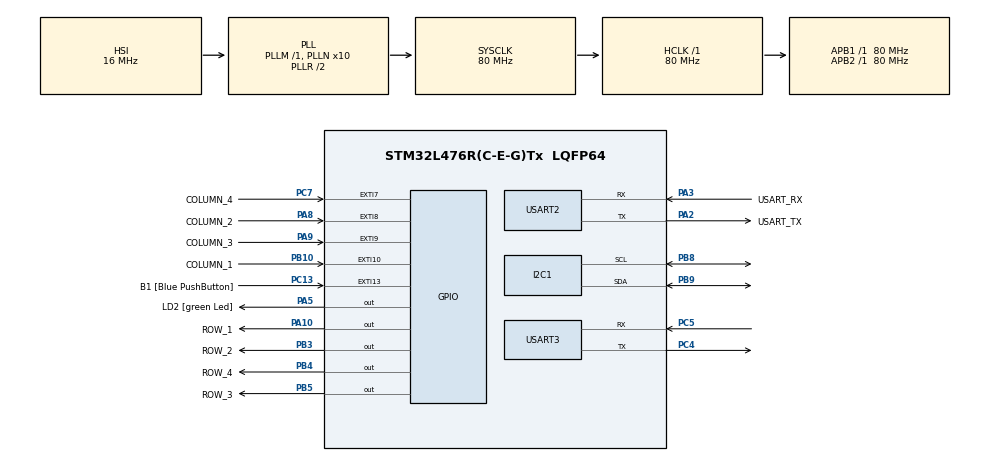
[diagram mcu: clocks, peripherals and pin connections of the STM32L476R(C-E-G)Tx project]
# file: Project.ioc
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I2C1.Timing=0x10D19CE4
Mcu.Family=STM32L4
Mcu.Name=STM32L476R(C-E-G)Tx
Mcu.Package=LQFP64
NVIC.EXTI15_10_IRQn=true\:0\:0\:false\:false\:true\:true\:true\:true
NVIC.EXTI9_5_IRQn=true\:0\:0\:false\:false\:true\:true\:true\:true
NVIC.PriorityGroup=NVIC_PRIORITYGROUP_4
NVIC.USART2_IRQn=true\:0\:0\:false\:false\:true\:true\:true\:true
NVIC.USART3_IRQn=true\:0\:0\:false\:false\:true\:true\:true\:true
PA10.GPIO_Label=ROW_1
PA10.GPIO_ModeDefaultOutputPP=GPIO_MODE_OUTPUT_OD
PA10.GPIO_PuPd=GPIO_NOPULL
PA10.GPIO_Speed=GPIO_SPEED_FREQ_VERY_HIGH
PA10.PinState=GPIO_PIN_RESET
PA10.Signal=GPIO_Output
PA13\ (JTMS-SWDIO).GPIO_Label=TMS
PA13\ (JTMS-SWDIO).Mode=Serial_Wire
PA13\ (JTMS-SWDIO).Signal=SYS_JTMS-SWDIO
PA14\ (JTCK-SWCLK).GPIO_Label=TCK
PA14\ (JTCK-SWCLK).Mode=Serial_Wire
PA14\ (JTCK-SWCLK).Signal=SYS_JTCK-SWCLK
PA2.GPIO_Label=USART_TX
PA2.GPIO_Mode=GPIO_MODE_AF_PP
PA2.GPIO_PuPd=GPIO_NOPULL
PA2.GPIO_Speed=GPIO_SPEED_FREQ_VERY_HIGH
PA2.Mode=Asynchronous
PA2.Signal=USART2_TX
PA3.GPIO_Label=USART_RX
PA3.GPIO_Mode=GPIO_MODE_AF_PP
PA3.GPIO_PuPd=GPIO_NOPULL
PA3.GPIO_Speed=GPIO_SPEED_FREQ_VERY_HIGH
PA3.Mode=Asynchronous
PA3.Signal=USART2_RX
PA5.GPIO_Label=LD2 [green Led]
PA5.GPIO_ModeDefaultOutputPP=GPIO_MODE_OUTPUT_PP
PA5.GPIO_PuPd=GPIO_NOPULL
PA5.GPIO_Speed=GPIO_SPEED_FREQ_LOW
PA5.Signal=GPIO_Output
PA8.GPIO_Label=COLUMN_2
PA8.GPIO_ModeDefaultEXTI=GPIO_MODE_IT_FALLING
PA8.GPIO_PuPd=GPIO_PULLUP
PA8.Signal=GPXTI8
PA9.GPIO_Label=COLUMN_3
PA9.GPIO_ModeDefaultEXTI=GPIO_MODE_IT_FALLING
PA9.GPIO_PuPd=GPIO_PULLUP
PA9.Signal=GPXTI9
PB10.GPIO_Label=COLUMN_1
PB10.GPIO_ModeDefaultEXTI=GPIO_MODE_IT_FALLING
PB10.GPIO_PuPd=GPIO_PULLUP
PB10.Signal=GPXTI10
PB3\ (JTDO-TRACESWO).GPIO_Label=ROW_2
PB3\ (JTDO-TRACESWO).GPIO_ModeDefaultOutputPP=GPIO_MODE_OUTPUT_OD
PB3\ (JTDO-TRACESWO).GPIO_PuPd=GPIO_NOPULL
PB3\ (JTDO-TRACESWO).GPIO_Speed=GPIO_SPEED_FREQ_VERY_HIGH
PB3\ (JTDO-TRACESWO).PinState=GPIO_PIN_RESET
PB3\ (JTDO-TRACESWO).Signal=GPIO_Output
PB4\ (NJTRST).GPIO_Label=ROW_4
PB4\ (NJTRST).GPIO_ModeDefaultOutputPP=GPIO_MODE_OUTPUT_OD
PB4\ (NJTRST).GPIO_PuPd=GPIO_NOPULL
PB4\ (NJTRST).GPIO_Speed=GPIO_SPEED_FREQ_VERY_HIGH
PB4\ (NJTRST).PinState=GPIO_PIN_RESET
PB4\ (NJTRST).Signal=GPIO_Output
PB5.GPIO_Label=ROW_3
PB5.GPIO_ModeDefaultOutputPP=GPIO_MODE_OUTPUT_OD
PB5.GPIO_PuPd=GPIO_NOPULL
PB5.GPIO_Speed=GPIO_SPEED_FREQ_VERY_HIGH
PB5.PinState=GPIO_PIN_RESET
PB5.Signal=GPIO_Output
PB8.Mode=I2C
PB8.Signal=I2C1_SCL
PB9.Mode=I2C
PB9.Signal=I2C1_SDA
PC13.GPIO_Label=B1 [Blue PushButton]
PC13.GPIO_ModeDefaultEXTI=GPIO_MODE_IT_FALLING
PC13.GPIO_PuPd=GPIO_NOPULL
PC13.Signal=GPXTI13
PC14-OSC32_IN\ (PC14).Mode=LSE-External-Oscillator
PC14-OSC32_IN\ (PC14).Signal=RCC_OSC32_IN
PC15-OSC32_OUT\ (PC15).Mode=LSE-External-Oscillator
PC15-OSC32_OUT\ (PC15).Signal=RCC_OSC32_OUT
PC4.Mode=Asynchronous
PC4.Signal=USART3_TX
PC5.Mode=Asynchronous
PC5.Signal=USART3_RX
PC7.GPIO_Label=COLUMN_4
PC7.GPIO_ModeDefaultEXTI=GPIO_MODE_IT_FALLING
PC7.GPIO_PuPd=GPIO_PULLUP
PC7.Signal=GPXTI7
PH0-OSC_IN\ (PH0).Signal=RCC_OSC_IN
PH1-OSC_OUT\ (PH1).Signal=RCC_OSC_OUT
ProjectManager.HeapSize=0x200
ProjectManager.StackSize=0x400
ProjectManager.TargetToolchain=CMake
RCC.ADCFreq_Value=64000000
RCC.AHBFreq_Value=80000000
RCC.APB1Freq_Value=80000000
RCC.APB1TimFreq_Value=80000000
RCC.APB2Freq_Value=80000000
RCC.APB2TimFreq_Value=80000000
RCC.CortexFreq_Value=80000000
RCC.HCLKFreq_Value=80000000
RCC.HSE_VALUE=8000000
RCC.HSI_VALUE=16000000
RCC.MSI_VALUE=4000000
RCC.PLLN=10
RCC.PLLSourceVirtual=RCC_PLLSOURCE_HSI
RCC.PREFETCH_ENABLE=1
RCC.SYSCLKFreq_VALUE=80000000
RCC.SYSCLKSource=RCC_SYSCLKSOURCE_PLLCLK
RCC.USBFreq_Value=64000000
RCC.VCOOutputFreq_Value=160000000
USART2.VirtualMode-Asynchronous=VM_ASYNC
USART3.VirtualMode-Asynchronous=VM_ASYNC
board=NUCLEO-L476RG

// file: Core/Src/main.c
/* USER CODE BEGIN Header */
/**
  ******************************************************************************
  * @file           : main.c
  * @brief          : Main program body
  ******************************************************************************
  * @attention
  *
  * Copyright (c) 2025 STMicroelectronics.
  * All rights reserved.
  *
  * This software is licensed under terms that can be found in the LICENSE file
  * in the root directory of this software component.
  * If no LICENSE file comes with this software, it is provided AS-IS.
  *
  ******************************************************************************
  */
/* USER CODE END Header */
#include "main.h"

/* USER CODE BEGIN Includes */
#include "keypad.h"
#include "ring_buffer.h"

#include "ssd1306.h"
#include "ssd1306_fonts.h"
/* USER CODE END Includes */

/* USER CODE BEGIN PM */
#define FW_VERSION "0.1.0\r\n"
/* USER CODE END PM */

I2C_HandleTypeDef hi2c1;

UART_HandleTypeDef huart2;
UART_HandleTypeDef huart3;

void SystemClock_Config(void);
static void MX_GPIO_Init(void);
static void MX_USART2_UART_Init(void);
static void MX_I2C1_Init(void);
static void MX_USART3_UART_Init(void);

/* USER CODE BEGIN 0 */
uint32_t key_pressed_tick = 0;
uint16_t column_pressed = 0;
uint8_t byte_received;

uint32_t debounce_tick = 0;
void HAL_GPIO_EXTI_Callback(uint16_t GPIO_Pin)
{
  if ((debounce_tick + 200) > HAL_GetTick()) {
    return;
  }
  debounce_tick = HAL_GetTick();
  key_pressed_tick = HAL_GetTick();
  column_pressed = GPIO_Pin;
}

void HAL_UART_RxCpltCallback(UART_HandleTypeDef *huart)
{
  HAL_UART_Receive_IT(&huart2, &byte_received, 1);
  HAL_UART_Transmit(&huart2, &byte_received, 1, 10);

}

void heartbeat(void)
{
  static uint32_t last_tick = 0;
  if ((last_tick + 500) < HAL_GetTick()) {
    last_tick = HAL_GetTick();
    HAL_GPIO_TogglePin(LD2_GPIO_Port, LD2_Pin);
  }
}
/* USER CODE END 0 */

int main(void)
{

  /* MCU Configuration--------------------------------------------------------*/

  /* Reset of all peripherals, Initializes the Flash interface and the Systick. */
  HAL_Init();

  /* Configure the system clock */
  SystemClock_Config();

  /* Initialize all configured peripherals */
  MX_GPIO_Init();
  MX_USART2_UART_Init();
  MX_I2C1_Init();
  MX_USART3_UART_Init();
  /* USER CODE BEGIN 2 */
  ssd1306_Init();
  ssd1306_Fill(Black);
  ssd1306_UpdateScreen();
  keypad_init();
  /* USER CODE END 2 */

  /* Infinite loop */
  /* USER CODE BEGIN WHILE */
  HAL_UART_Receive_IT(&huart2, &byte_received, 1);
  HAL_UART_Transmit(&huart2, (uint8_t *)FW_VERSION, sizeof(FW_VERSION)-1, 10);

  ssd1306_SetCursor(20, 20);
  ssd1306_WriteString((char *)FW_VERSION, Font_7x10, White);
  ssd1306_UpdateScreen();
  while (1) {
    heartbeat();
    if (column_pressed != 0 && (key_pressed_tick + 5) < HAL_GetTick() ) {
      uint8_t key = keypad_scan(column_pressed);
      HAL_UART_Transmit(&huart2, &key, 1, 100);
      column_pressed = 0;
    }
    /* USER CODE END WHILE */

  }
}

void SystemClock_Config(void)
{
  RCC_OscInitTypeDef RCC_OscInitStruct = {0};
  RCC_ClkInitTypeDef RCC_ClkInitStruct = {0};

  /** Configure the main internal regulator output voltage
  */
  if (HAL_PWREx_ControlVoltageScaling(PWR_REGULATOR_VOLTAGE_SCALE1) != HAL_OK)
  {
    Error_Handler();
  }

  /** Initializes the RCC Oscillators according to the specified parameters
  * in the RCC_OscInitTypeDef structure.
  */
  RCC_OscInitStruct.OscillatorType = RCC_OSCILLATORTYPE_HSI;
  RCC_OscInitStruct.HSIState = RCC_HSI_ON;
  RCC_OscInitStruct.HSICalibrationValue = RCC_HSICALIBRATION_DEFAULT;
  RCC_OscInitStruct.PLL.PLLState = RCC_PLL_ON;
  RCC_OscInitStruct.PLL.PLLSource = RCC_PLLSOURCE_HSI;
  RCC_OscInitStruct.PLL.PLLM = 1;
  RCC_OscInitStruct.PLL.PLLN = 10;
  RCC_OscInitStruct.PLL.PLLP = RCC_PLLP_DIV7;
  RCC_OscInitStruct.PLL.PLLQ = RCC_PLLQ_DIV2;
  RCC_OscInitStruct.PLL.PLLR = RCC_PLLR_DIV2;
  if (HAL_RCC_OscConfig(&RCC_OscInitStruct) != HAL_OK)
  {
    Error_Handler();
  }

  /** Initializes the CPU, AHB and APB buses clocks
  */
  RCC_ClkInitStruct.ClockType = RCC_CLOCKTYPE_HCLK|RCC_CLOCKTYPE_SYSCLK
                              |RCC_CLOCKTYPE_PCLK1|RCC_CLOCKTYPE_PCLK2;
  RCC_ClkInitStruct.SYSCLKSource = RCC_SYSCLKSOURCE_PLLCLK;
  RCC_ClkInitStruct.AHBCLKDivider = RCC_SYSCLK_DIV1;
  RCC_ClkInitStruct.APB1CLKDivider = RCC_HCLK_DIV1;
  RCC_ClkInitStruct.APB2CLKDivider = RCC_HCLK_DIV1;

  if (HAL_RCC_ClockConfig(&RCC_ClkInitStruct, FLASH_LATENCY_4) != HAL_OK)
  {
    Error_Handler();
  }
}

static void MX_I2C1_Init(void)
{

  hi2c1.Instance = I2C1;
  hi2c1.Init.Timing = 0x10D19CE4;
  hi2c1.Init.OwnAddress1 = 0;
  hi2c1.Init.AddressingMode = I2C_ADDRESSINGMODE_7BIT;
  hi2c1.Init.DualAddressMode = I2C_DUALADDRESS_DISABLE;
  hi2c1.Init.OwnAddress2 = 0;
  hi2c1.Init.OwnAddress2Masks = I2C_OA2_NOMASK;
  hi2c1.Init.GeneralCallMode = I2C_GENERALCALL_DISABLE;
  hi2c1.Init.NoStretchMode = I2C_NOSTRETCH_DISABLE;
  if (HAL_I2C_Init(&hi2c1) != HAL_OK)
  {
    Error_Handler();
  }

  /** Configure Analogue filter
  */
  if (HAL_I2CEx_ConfigAnalogFilter(&hi2c1, I2C_ANALOGFILTER_ENABLE) != HAL_OK)
  {
    Error_Handler();
  }

  /** Configure Digital filter
  */
  if (HAL_I2CEx_ConfigDigitalFilter(&hi2c1, 0) != HAL_OK)
  {
    Error_Handler();
  }

}

static void MX_USART2_UART_Init(void)
{

  huart2.Instance = USART2;
  huart2.Init.BaudRate = 115200;
  huart2.Init.WordLength = UART_WORDLENGTH_8B;
  huart2.Init.StopBits = UART_STOPBITS_1;
  huart2.Init.Parity = UART_PARITY_NONE;
  huart2.Init.Mode = UART_MODE_TX_RX;
  huart2.Init.HwFlowCtl = UART_HWCONTROL_NONE;
  huart2.Init.OverSampling = UART_OVERSAMPLING_16;
  huart2.Init.OneBitSampling = UART_ONE_BIT_SAMPLE_DISABLE;
  huart2.AdvancedInit.AdvFeatureInit = UART_ADVFEATURE_NO_INIT;
  if (HAL_UART_Init(&huart2) != HAL_OK)
  {
    Error_Handler();
  }

}

static void MX_USART3_UART_Init(void)
{

  huart3.Instance = USART3;
  huart3.Init.BaudRate = 115200;
  huart3.Init.WordLength = UART_WORDLENGTH_8B;
  huart3.Init.StopBits = UART_STOPBITS_1;
  huart3.Init.Parity = UART_PARITY_NONE;
  huart3.Init.Mode = UART_MODE_TX_RX;
  huart3.Init.HwFlowCtl = UART_HWCONTROL_NONE;
  huart3.Init.OverSampling = UART_OVERSAMPLING_16;
  huart3.Init.OneBitSampling = UART_ONE_BIT_SAMPLE_DISABLE;
  huart3.AdvancedInit.AdvFeatureInit = UART_ADVFEATURE_NO_INIT;
  if (HAL_UART_Init(&huart3) != HAL_OK)
  {
    Error_Handler();
  }

}

static void MX_GPIO_Init(void)
{
  GPIO_InitTypeDef GPIO_InitStruct = {0};

  /* GPIO Ports Clock Enable */
  __HAL_RCC_GPIOC_CLK_ENABLE();
  __HAL_RCC_GPIOH_CLK_ENABLE();
  __HAL_RCC_GPIOA_CLK_ENABLE();
  __HAL_RCC_GPIOB_CLK_ENABLE();

  /*Configure GPIO pin Output Level */
  HAL_GPIO_WritePin(GPIOA, LD2_Pin|ROW_1_Pin, GPIO_PIN_RESET);

  /*Configure GPIO pin Output Level */
  HAL_GPIO_WritePin(GPIOB, ROW_2_Pin|ROW_4_Pin|ROW_3_Pin, GPIO_PIN_RESET);

  /*Configure GPIO pin : B1_Pin */
  GPIO_InitStruct.Pin = B1_Pin;
  GPIO_InitStruct.Mode = GPIO_MODE_IT_FALLING;
  GPIO_InitStruct.Pull = GPIO_NOPULL;
  HAL_GPIO_Init(B1_GPIO_Port, &GPIO_InitStruct);

  /*Configure GPIO pin : LD2_Pin */
  GPIO_InitStruct.Pin = LD2_Pin;
  GPIO_InitStruct.Mode = GPIO_MODE_OUTPUT_PP;
  GPIO_InitStruct.Pull = GPIO_NOPULL;
  GPIO_InitStruct.Speed = GPIO_SPEED_FREQ_LOW;
  HAL_GPIO_Init(LD2_GPIO_Port, &GPIO_InitStruct);

  /*Configure GPIO pin : COLUMN_1_Pin */
  GPIO_InitStruct.Pin = COLUMN_1_Pin;
  GPIO_InitStruct.Mode = GPIO_MODE_IT_FALLING;
  GPIO_InitStruct.Pull = GPIO_PULLUP;
  HAL_GPIO_Init(COLUMN_1_GPIO_Port, &GPIO_InitStruct);

  /*Configure GPIO pin : COLUMN_4_Pin */
  GPIO_InitStruct.Pin = COLUMN_4_Pin;
  GPIO_InitStruct.Mode = GPIO_MODE_IT_FALLING;
  GPIO_InitStruct.Pull = GPIO_PULLUP;
  HAL_GPIO_Init(COLUMN_4_GPIO_Port, &GPIO_InitStruct);

  /*Configure GPIO pins : COLUMN_2_Pin COLUMN_3_Pin */
  GPIO_InitStruct.Pin = COLUMN_2_Pin|COLUMN_3_Pin;
  GPIO_InitStruct.Mode = GPIO_MODE_IT_FALLING;
  GPIO_InitStruct.Pull = GPIO_PULLUP;
  HAL_GPIO_Init(GPIOA, &GPIO_InitStruct);

  /*Configure GPIO pin : ROW_1_Pin */
  GPIO_InitStruct.Pin = ROW_1_Pin;
  GPIO_InitStruct.Mode = GPIO_MODE_OUTPUT_OD;
  GPIO_InitStruct.Pull = GPIO_NOPULL;
  GPIO_InitStruct.Speed = GPIO_SPEED_FREQ_VERY_HIGH;
  HAL_GPIO_Init(ROW_1_GPIO_Port, &GPIO_InitStruct);

  /*Configure GPIO pins : ROW_2_Pin ROW_4_Pin ROW_3_Pin */
  GPIO_InitStruct.Pin = ROW_2_Pin|ROW_4_Pin|ROW_3_Pin;
  GPIO_InitStruct.Mode = GPIO_MODE_OUTPUT_OD;
  GPIO_InitStruct.Pull = GPIO_NOPULL;
  GPIO_InitStruct.Speed = GPIO_SPEED_FREQ_VERY_HIGH;
  HAL_GPIO_Init(GPIOB, &GPIO_InitStruct);

  /* EXTI interrupt init*/
  HAL_NVIC_SetPriority(EXTI9_5_IRQn, 0, 0);
  HAL_NVIC_EnableIRQ(EXTI9_5_IRQn);

  HAL_NVIC_SetPriority(EXTI15_10_IRQn, 0, 0);
  HAL_NVIC_EnableIRQ(EXTI15_10_IRQn);

}

void Error_Handler(void)
{
  __disable_irq();
  while (1)
  {
  }
}
